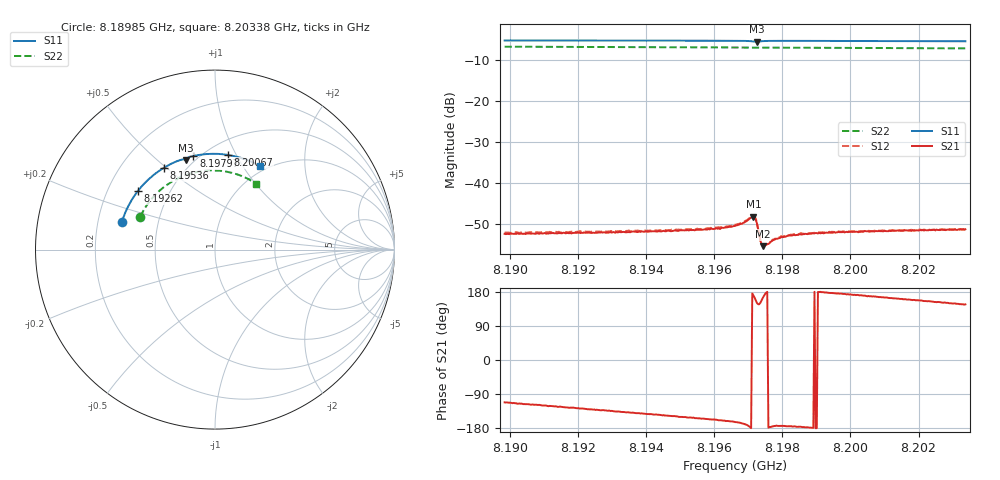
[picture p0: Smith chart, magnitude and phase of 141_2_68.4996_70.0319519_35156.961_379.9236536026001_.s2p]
#  HZ  S  RI  R  50.00
! Rohde & Schwarz Vector Network Analyzer
! Rohde-Schwarz,ZNB20-2Port,1311601062101988,3.16
! Created: UTC 3/20/2024, 4:54:53 PM
! freq[Hz]  re:S11  im:S11  re:S21  im:S21  re:S12  im:S12  re:S22  im:S22
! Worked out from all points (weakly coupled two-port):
!   401 points, 8.18985 GHz to 8.20338 GHz, reference 50 ohm
!   highest |S21| = -48.21 dB at 8.19715 GHz (marker M1); lowest = -55.4 dB at 8.19743 GHz (marker M2)
!   lowest |S11| = -5.6 dB at 8.19726 GHz (marker M3), VSWR 3.19, Z = 22.7 + j31 ohm
!   |S11| at or under -10 dB: nowhere
!   |S22| runs from -7.3 to -6.8 dB; largest |S21 - S12| = 0.00022
!   S11 on the Smith chart (normalised r, x): 8.18985 GHz: 0.30, +0.13; 8.19262 GHz: 0.33, +0.30; 8.19536 GHz: 0.38, +0.49; 8.19797 GHz: 0.47, +0.68; 8.20067 GHz: 0.63, +0.93; 8.20338 GHz: 0.93, +1.20
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8.189852e9  -0.5184 0.1549  -0.000891 -0.00223  -0.00099 -0.00229  -0.4158 0.1841
8.192117e9  -0.4501 0.2981  -0.00152 -0.00196  -0.00163 -0.00196  -0.3475 0.2891
8.192625e9  -0.4295 0.3269  -0.00168 -0.00186  -0.00178 -0.00184  -0.3283 0.3097
8.194383e9  -0.3429 0.4151  -0.00212 -0.00151  -0.00221 -0.00144  -0.2525 0.3712
8.195363e9  -0.2863 0.4551  -0.00237 -0.00123  -0.00246 -0.00119  -0.2047 0.3978
8.196107e9  -0.2398 0.4805  -0.00258 -0.00102  -0.00272 -0.000973  -0.1664 0.4141
8.196614e9  -0.2059 0.4949  -0.00288 -0.000838  -0.00301 -0.000762  -0.1394 0.4231
8.196884e9  -0.1861 0.5011  -0.00324 -0.000643  -0.00335 -0.000512  -0.1247 0.4272
8.197087e9  -0.1693 0.5023  -0.00379 -1.18e-05  -0.00387 0.000173  -0.1135 0.4297
8.197155e9  -0.1644 0.4999  -0.00383 0.000646  -0.0039 0.000834  -0.1098 0.4306
8.197189e9  -0.1631 0.4983  -0.00368 0.001  -0.00371 0.00122  -0.108 0.4308
8.197256e9  -0.1638 0.4965  -0.00283 0.00158  -0.00282 0.0017  -0.1043 0.4316
8.197358e9  -0.1636 0.5023  -0.00175 0.000972  -0.00172 0.00105  -0.099 0.4328
8.197425e9  -0.16 0.5066  -0.00163 0.00049  -0.00163 0.000584  -0.0952 0.4337
8.197493e9  -0.1551 0.5099  -0.00172 0.000189  -0.00173 0.000255  -0.0915 0.4344
8.197763e9  -0.1349 0.5176  -0.00203 -0.00021  -0.00204 -0.000101  -0.0764 0.4369
8.197966e9  -0.1202 0.5213  -0.00218 -0.000235  -0.00225 -0.000162  -0.065 0.4384
8.198304e9  -0.096 0.5263  -0.00229 -0.000172  -0.00234 -8.65e-05  -0.0459 0.4402
8.198879e9  -0.0553 0.5317  -0.00243 -6.1e-05  -0.00246 5.45e-05  -0.0135 0.4413
8.200671e9  0.0715 0.5276  -0.00253 0.000532  -0.00251 0.00069  0.0872 0.4294
8.201144e9  0.1042 0.5216  -0.00251 0.000741  -0.0025 0.000847  0.1132 0.4224
8.203375e9  0.2512 0.4653  -0.00229 0.00149  -0.00219 0.00161  0.2283 0.3679
